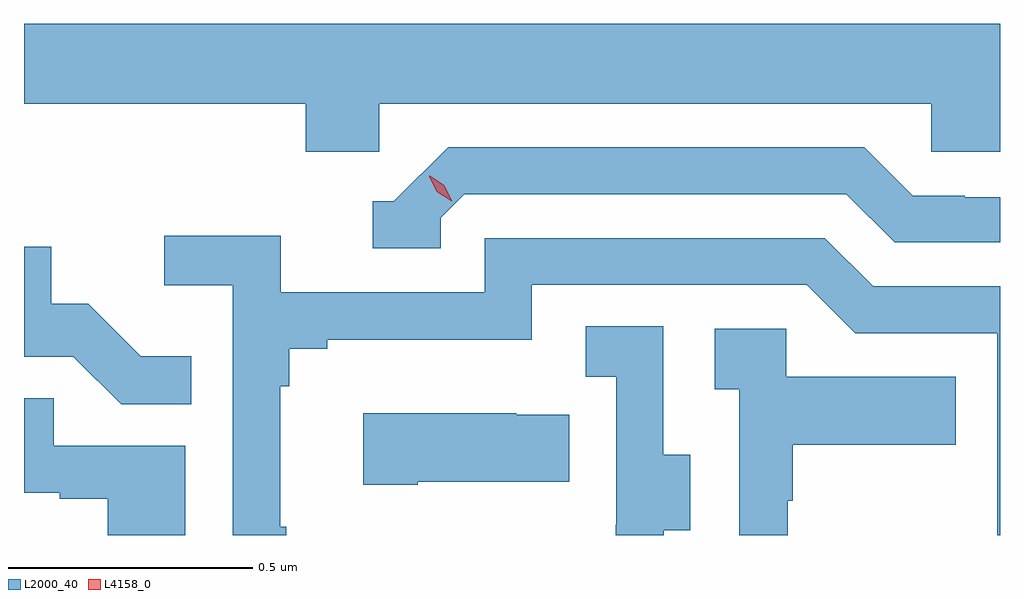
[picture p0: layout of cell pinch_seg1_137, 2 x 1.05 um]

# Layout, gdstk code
import gdstk
lib = gdstk.Library(unit=1e-6, precision=1e-09)
def P(c, l, *ps):  # polygons
    for p in ps: c.add(gdstk.Polygon(p, *l))
L2000_40 = (2000, 40)
L4158_0 = (4158, 0)

pinch_seg1_137 = lib.new_cell('pinch_seg1_137')
P(pinch_seg1_137, L2000_40, [(1074.768,562.388),(1075.899,562.388),(1075.899,562.29),(1076.04,562.29),(1076.04,562.552),(1074.04,562.552),(1074.04,562.388),(1074.617,562.388),(1074.617,562.29),(1074.768,562.29)],
  [(1074.894,562.155),(1074.942,562.203),(1075.725,562.203),(1075.824,562.104),(1076.04,562.104),(1076.04,562.197),(1075.968,562.197),(1075.968,562.2),(1075.861,562.2),(1075.762,562.299),(1074.909,562.299),(1074.798,562.188),(1074.755,562.188),(1074.755,562.092),(1074.894,562.092)],
  [(1074.577,561.521),(1074.565,561.521),(1074.565,561.809),(1074.584,561.809),(1074.584,561.886),(1074.661,561.886),(1074.661,561.905),(1075.08,561.905),(1075.08,562.017),(1075.644,562.017),(1075.743,561.918),(1076.034,561.918),(1076.034,561.504),(1076.04,561.504),(1076.04,562.014),(1075.78,562.014),(1075.681,562.113),(1074.984,562.113),(1074.984,562.002),(1074.566,562.002),(1074.566,562.118),(1074.327,562.118),(1074.327,562.016),(1074.468,562.016),(1074.468,561.504),(1074.577,561.504)],
  [(1074.383,561.871),(1074.279,561.871),(1074.172,561.978),(1074.096,561.978),(1074.096,562.095),(1074.04,562.095),(1074.04,561.87),(1074.141,561.87),(1074.239,561.772),(1074.383,561.772)],
  [(1075.351,561.514),(1075.405,561.514),(1075.405,561.669),(1075.35,561.669),(1075.35,561.932),(1075.191,561.932),(1075.191,561.829),(1075.254,561.829),(1075.254,561.525),(1075.253,561.525),(1075.253,561.504),(1075.351,561.504)],
  [(1075.605,561.575),(1075.615,561.575),(1075.615,561.689),(1075.949,561.689),(1075.949,561.829),(1075.602,561.829),(1075.602,561.927),(1075.455,561.927),(1075.455,561.803),(1075.506,561.803),(1075.506,561.504),(1075.605,561.504)],
  [(1074.37,561.687),(1074.101,561.687),(1074.101,561.785),(1074.04,561.785),(1074.04,561.591),(1074.113,561.591),(1074.113,561.579),(1074.212,561.579),(1074.212,561.504),(1074.37,561.504)],
  [(1074.847,561.614),(1075.157,561.614),(1075.157,561.751),(1075.049,561.751),(1075.049,561.754),(1074.735,561.754),(1074.735,561.607),(1074.847,561.607)])
P(pinch_seg1_137, L4158_0, [(1074.917,562.188),(1074.886,562.208),(1074.87,562.24),(1074.87,562.241),(1074.871,562.241),(1074.901,562.221),(1074.917,562.189),(1074.917,562.188)])

lib.write_gds('pinch_seg1_137.gds')
